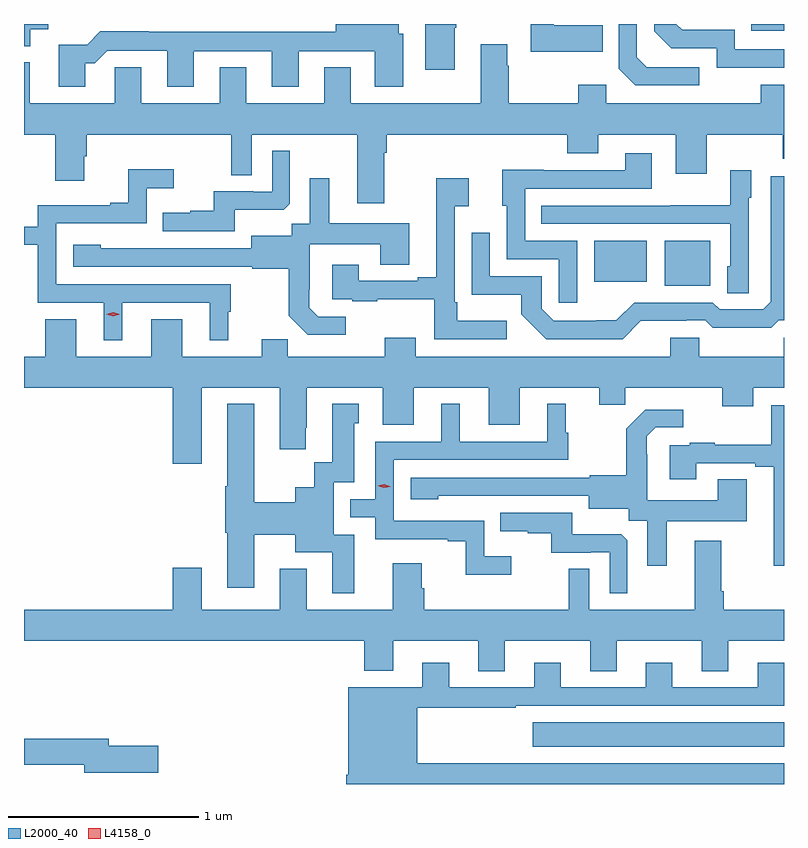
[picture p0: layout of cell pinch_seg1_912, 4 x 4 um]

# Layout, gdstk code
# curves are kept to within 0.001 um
import gdstk
lib = gdstk.Library(unit=1e-6, precision=1e-09)
def R(c, l, rs):  # rectangles x0, y0, x1, y1
    for r in rs: c.add(gdstk.rectangle(r[:2], r[2:], *l))
def P(c, l, *ps):  # polygons
    for p in ps: c.add(gdstk.Polygon(p, *l))
L2000_40 = (2000, 40)
L4158_0 = (4158, 0)

pinch_seg1_912 = lib.new_cell('pinch_seg1_912')
R(pinch_seg1_912, L2000_40, [(182.355,533.858,183.678,533.986), (183.05,536.285,183.289,536.521), (182.678,536.306,182.956,536.521), (183.505,537.627,183.678,537.662)])
P(pinch_seg1_912, L2000_40, [(179.71,537.635),(179.806,537.635),(179.806,537.662),(179.678,537.662),(179.678,537.545),(179.71,537.545)],
  [(181.945,537.643),(181.953,537.643),(181.953,537.662),(181.79,537.662),(181.79,537.42),(181.945,537.42)],
  [(183.232,537.435),(182.955,537.435),(182.904,537.486),(182.904,537.662),(182.808,537.662),(182.808,537.426),(182.895,537.339),(183.232,537.339)],
  [(182.723,537.655),(182.467,537.655),(182.467,537.662),(182.346,537.662),(182.346,537.515),(182.723,537.515)],
  [(183.678,537.528),(183.42,537.528),(183.42,537.631),(183.143,537.631),(183.112,537.662),(182.994,537.662),(182.994,537.624),(183.084,537.534),(183.324,537.534),(183.324,537.432),(183.678,537.432)],
  [(180.001,537.455),(180.05,537.455),(180.117,537.522),(180.431,537.522),(180.431,537.333),(180.571,537.333),(180.571,537.519),(180.983,537.519),(180.983,537.333),(181.123,537.333),(181.123,537.519),(181.523,537.519),(181.523,537.333),(181.675,537.333),(181.675,537.612),(181.651,537.612),(181.651,537.662),(181.319,537.662),(181.319,537.62),(180.335,537.62),(180.335,537.623),(180.08,537.623),(180.01,537.553),(179.861,537.553),(179.861,537.333),(180.001,537.333)],
  [(181.573,536.984),(181.586,536.984),(181.586,537.08),(182.537,537.08),(182.537,536.981),(182.701,536.981),(182.701,537.08),(183.107,537.08),(183.107,536.874),(183.271,536.874),(183.271,537.08),(183.671,537.08),(183.671,536.952),(183.678,536.952),(183.678,537.343),(183.556,537.343),(183.556,537.244),(182.742,537.244),(182.742,537.343),(182.596,537.343),(182.596,537.244),(182.229,537.244),(182.229,537.443),(182.221,537.443),(182.221,537.556),(182.081,537.556),(182.081,537.244),(181.399,537.244),(181.399,537.434),(181.259,537.434),(181.259,537.244),(180.847,537.244),(180.847,537.434),(180.707,537.434),(180.707,537.244),(180.295,537.244),(180.295,537.434),(180.156,537.434),(180.156,537.244),(179.707,537.244),(179.707,537.46),(179.678,537.46),(179.678,537.08),(179.843,537.08),(179.843,536.838),(179.995,536.838),(179.995,536.967),(180.008,536.967),(180.008,537.08),(180.768,537.08),(180.768,536.866),(180.876,536.866),(180.876,537.08),(181.433,537.08),(181.433,536.718),(181.573,536.718)],
  [(180.787,536.684),(181.045,536.684),(181.077,536.715),(181.077,536.995),(180.984,536.995),(180.984,536.778),(180.884,536.778),(180.884,536.781),(180.677,536.781),(180.677,536.68),(180.553,536.68),(180.553,536.668),(180.409,536.668),(180.409,536.571),(180.787,536.571)],
  [(182.589,536.52),(182.316,536.52),(182.316,536.796),(182.983,536.796),(182.983,536.983),(182.843,536.983),(182.843,536.892),(182.413,536.892),(182.413,536.894),(182.195,536.894),(182.195,536.706),(182.22,536.706),(182.22,536.424),(182.493,536.424),(182.493,536.196),(182.589,536.196)],
  [(180.196,536.196),(180.656,536.196),(180.656,535.997),(180.754,535.997),(180.754,536.148),(180.766,536.148),(180.766,536.292),(179.847,536.292),(179.847,536.613),(180.324,536.613),(180.324,536.798),(180.466,536.798),(180.466,536.897),(180.226,536.897),(180.226,536.722),(180.131,536.722),(180.131,536.709),(179.751,536.709),(179.751,536.595),(179.678,536.595),(179.678,536.499),(179.751,536.499),(179.751,536.196),(180.098,536.196),(180.098,535.997),(180.196,535.997)],
  [(183.492,536.748),(183.505,536.748),(183.505,536.893),(183.396,536.893),(183.396,536.707),(183.079,536.707),(183.079,536.706),(182.401,536.706),(182.401,536.61),(183.396,536.61),(183.396,536.388),(183.38,536.388),(183.38,536.245),(183.492,536.245)],
  [(182.924,536.099),(183.164,536.099),(183.164,536.103),(183.264,536.103),(183.304,536.064),(183.611,536.064),(183.651,536.103),(183.678,536.103),(183.678,536.862),(183.609,536.862),(183.609,536.199),(183.57,536.16),(183.339,536.16),(183.303,536.196),(182.889,536.196),(182.795,536.102),(182.69,536.102),(182.69,536.1),(182.466,536.1),(182.403,536.163),(182.403,536.334),(182.13,536.334),(182.13,536.563),(182.034,536.563),(182.034,536.237),(182.296,536.237),(182.296,536.135),(182.426,536.004),(182.829,536.004)],
  [(181.372,536.121),(181.227,536.121),(181.18,536.168),(181.18,536.263),(181.182,536.263),(181.182,536.504),(181.553,536.504),(181.553,536.395),(181.705,536.395),(181.705,536.614),(181.285,536.614),(181.285,536.851),(181.181,536.851),(181.181,536.612),(181.086,536.612),(181.086,536.548),(180.875,536.548),(180.875,536.481),(180.081,536.482),(180.081,536.5),(179.937,536.5),(179.937,536.385),(180.879,536.385),(180.879,536.373),(181.071,536.373),(181.071,536.127),(181.171,536.027),(181.372,536.027)],
  [(182.218,536.101),(181.957,536.101),(181.957,536.197),(181.944,536.197),(181.944,536.702),(182.02,536.702),(182.02,536.851),(181.847,536.851),(181.847,536.329),(181.751,536.329),(181.751,536.31),(181.441,536.31),(181.441,536.395),(181.301,536.395),(181.301,536.214),(181.405,536.214),(181.405,536.202),(181.537,536.202),(181.537,536.213),(181.836,536.213),(181.836,536.004),(182.218,536.004)],
  [(180.613,535.748),(181.025,535.748),(181.025,535.425),(181.162,535.425),(181.162,535.537),(181.165,535.537),(181.165,535.748),(181.565,535.748),(181.565,535.554),(181.729,535.554),(181.729,535.748),(182.123,535.748),(182.123,535.554),(182.287,535.554),(182.287,535.748),(182.705,535.748),(182.705,535.658),(182.843,535.658),(182.843,535.748),(183.353,535.748),(183.353,535.649),(183.517,535.649),(183.517,535.748),(183.678,535.748),(183.678,536.01),(183.676,536.01),(183.676,535.912),(183.231,535.912),(183.231,536.01),(183.08,536.01),(183.08,535.912),(181.741,535.912),(181.741,536.011),(181.577,536.011),(181.577,535.912),(181.067,535.912),(181.067,536.003),(180.929,536.003),(180.929,535.912),(180.511,535.912),(180.511,536.107),(180.347,536.107),(180.347,535.912),(179.953,535.912),(179.953,536.107),(179.789,536.107),(179.789,535.912),(179.678,535.912),(179.678,535.748),(180.461,535.748),(180.461,535.347),(180.613,535.347)],
  [(182.242,534.862),(182.1,534.862),(182.1,535.047),(181.623,535.047),(181.623,535.368),(182.542,535.368),(182.542,535.512),(182.53,535.512),(182.53,535.663),(182.432,535.663),(182.432,535.464),(181.972,535.464),(181.972,535.663),(181.874,535.663),(181.874,535.464),(181.527,535.464),(181.527,535.161),(181.394,535.161),(181.394,535.065),(181.527,535.065),(181.527,534.951),(181.907,534.951),(181.907,534.939),(182.002,534.939),(182.002,534.764),(182.242,534.764)],
  [(181.417,534.975),(181.308,534.975),(181.308,535.251),(181.417,535.251),(181.417,535.56),(181.441,535.56),(181.441,535.663),(181.301,535.663),(181.301,535.356),(181.205,535.356),(181.205,535.225),(181.106,535.225),(181.106,535.145),(180.889,535.145),(180.889,535.663),(180.749,535.663),(180.749,535.228),(180.737,535.228),(180.737,534.984),(180.749,534.984),(180.749,534.696),(180.889,534.696),(180.889,534.973),(181.106,534.973),(181.106,534.881),(181.301,534.881),(181.301,534.666),(181.417,534.666)],
  [(183.678,535.656),(183.612,535.656),(183.612,535.448),(183.313,535.448),(183.313,535.459),(183.181,535.459),(183.181,535.446),(183.077,535.446),(183.077,535.266),(183.217,535.266),(183.217,535.35),(183.527,535.35),(183.527,535.332),(183.623,535.332),(183.623,534.81),(183.678,534.81)],
  [(183.061,535.046),(183.481,535.046),(183.481,535.265),(183.329,535.265),(183.329,535.156),(182.958,535.156),(182.958,535.397),(182.956,535.397),(182.956,535.492),(183.003,535.539),(183.148,535.539),(183.148,535.633),(182.947,535.633),(182.847,535.533),(182.847,535.288),(182.655,535.288),(182.655,535.275),(181.713,535.275),(181.713,535.16),(181.857,535.16),(181.857,535.178),(182.651,535.179),(182.651,535.112),(182.862,535.112),(182.862,535.048),(182.957,535.048),(182.957,534.81),(183.061,534.81)],
  [(182.853,534.945),(182.821,534.977),(182.563,534.977),(182.563,535.089),(182.185,535.089),(182.185,534.992),(182.329,534.992),(182.329,534.981),(182.453,534.981),(182.453,534.879),(182.66,534.879),(182.66,534.882),(182.76,534.882),(182.76,534.665),(182.853,534.665)],
  [(181.165,534.796),(181.025,534.796),(181.025,534.58),(180.613,534.58),(180.613,534.799),(180.461,534.799),(180.461,534.58),(179.678,534.58),(179.678,534.416),(181.469,534.416),(181.469,534.257),(181.621,534.257),(181.621,534.416),(182.069,534.416),(182.069,534.256),(182.209,534.256),(182.209,534.416),(182.657,534.416),(182.657,534.256),(182.797,534.256),(182.797,534.416),(183.245,534.416),(183.245,534.256),(183.385,534.256),(183.385,534.416),(183.678,534.416),(183.678,534.58),(183.362,534.58),(183.362,534.676),(183.349,534.676),(183.349,534.943),(183.209,534.943),(183.209,534.58),(182.652,534.58),(182.652,534.794),(182.544,534.794),(182.544,534.58),(181.784,534.58),(181.784,534.693),(181.771,534.693),(181.771,534.823),(181.619,534.823),(181.619,534.58),(181.165,534.58)],
  [(183.678,533.77),(181.747,533.77),(181.747,534.063),(182.267,534.063),(182.267,534.075),(183.678,534.075),(183.678,534.301),(183.539,534.301),(183.539,534.171),(183.091,534.171),(183.091,534.301),(182.951,534.301),(182.951,534.171),(182.503,534.171),(182.503,534.301),(182.363,534.301),(182.363,534.171),(181.915,534.171),(181.915,534.301),(181.775,534.301),(181.775,534.172),(181.385,534.172),(181.385,533.71),(181.373,533.71),(181.373,533.662),(183.678,533.662)],
  [(180.385,533.864),(180.124,533.864),(180.124,533.9),(179.678,533.9),(179.678,533.764),(179.996,533.764),(179.996,533.722),(180.385,533.722)])
P(pinch_seg1_912, L4158_0, [(181.572,535.22),(181.539,535.233),(181.538,535.233),(181.539,535.233),(181.574,535.24),(181.607,535.227),(181.607,535.227),(181.607,535.227)],
  [(180.147,536.125),(180.111,536.135),(180.111,536.135),(180.111,536.135),(180.147,536.145),(180.183,536.135),(180.183,536.135),(180.183,536.135)])

lib.write_gds('pinch_seg1_912.gds')
